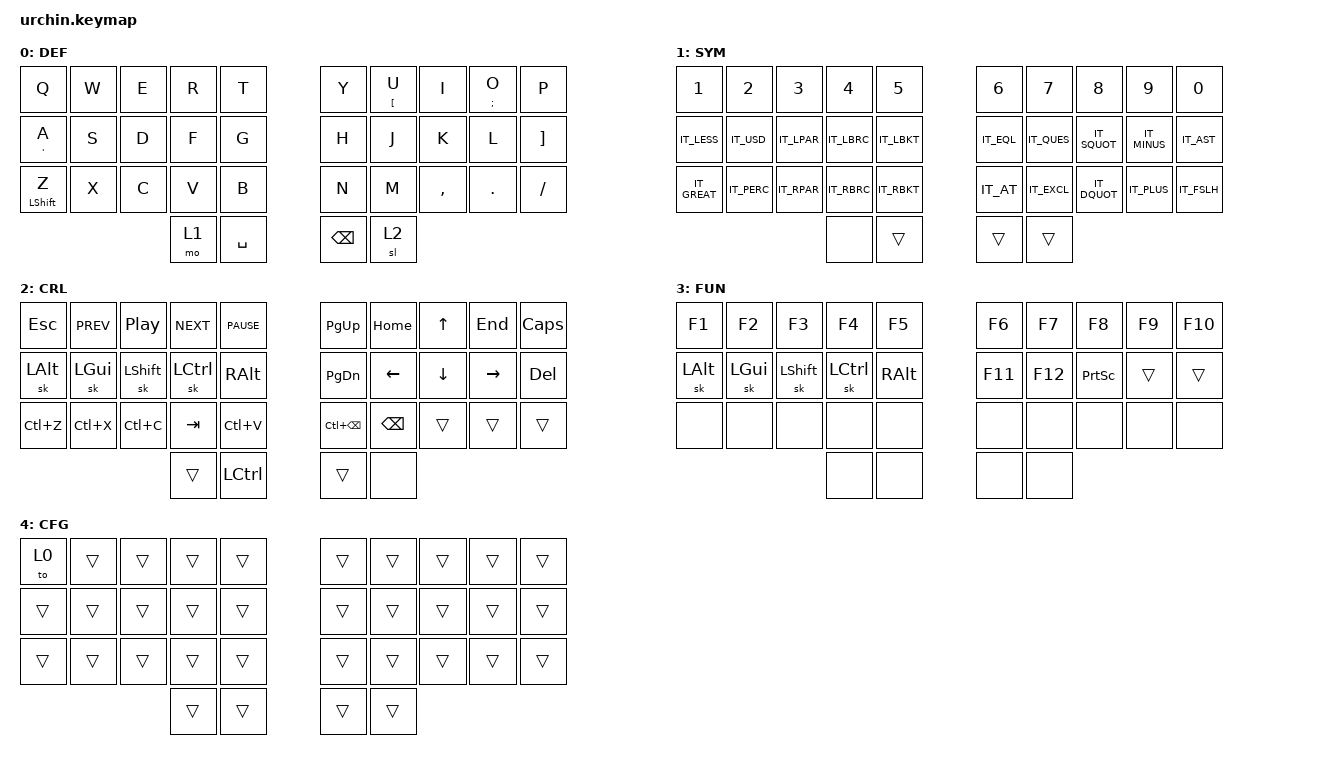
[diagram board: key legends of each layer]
/*
 * Copyright (c) 2020 duckyb
 *
 * SPDX-License-Identifier: MIT
 */

#include <behaviors.dtsi>
#include <dt-bindings/zmk/keys.h>
#include "keymap_italian.h"

// Layer definitions

#define BASE 0
#define SYM 1
#define EXT 2
#define FNC 3
#define SYM2 4
#define ACCENT 5
#define SETTINGS 6

// -----------------

&mt {
    quick-tap-ms = <100>;
    flavor = "balanced";
};

/ {
    behaviors {
        // Enables holding the first mod-tap key
        // by performing a tap-release-hold sequence.
        // To use it: "&qt KEYCODE1 KEYCODE2"
    };

    macros {
        // sometimes my device thinks a modifier is being held down
        // pressing all modifiers fixes it.
    };

    combos {
        compatible = "zmk,combos";

        // both right thumb keys
        // internal-left & external-right thumb keys
        // both left thumb keys
        // left index & middle fingers (home-row)
        // hold control & space for Adobe workflow

        combo_esc {
            bindings = <&kp ESC>;
            key-positions = <0 1>;
        };

        combo_ret {
            bindings = <&kp RET>;
            key-positions = <8 9>;
        };
    };

    keymap {
        compatible = "zmk,keymap";

        // Base alpha layer

        default_layer {
            label = "DEF";
            bindings = <
&kp Q         &kp W  &kp E  &kp R  &kp T      &kp Y          &mt LEFT_BRACKET U  &kp I      &mt SEMI O  &kp P
&mt APOS A    &kp S  &kp D  &kp F  &kp G      &kp H          &kp J               &kp K      &kp L       &kp RIGHT_BRACKET
&mt LSHIFT Z  &kp X  &kp C  &kp V  &kp B      &kp N          &kp M               &kp COMMA  &kp DOT     &kp SLASH
                            &mo 1  &kp SPACE  &kp BACKSPACE  &sl 2
            >;
        };

        // Numbers and high frequency symbols

        symbol_layer {
            label = "SYM";
            bindings = <
&kp N1        &kp N2       &kp N3       &kp N4       &kp N5       &kp N6      &kp N7       &kp N8        &kp N9        &kp N0
&kp IT_LESS   &kp IT_USD   &kp IT_LPAR  &kp IT_LBRC  &kp IT_LBKT  &kp IT_EQL  &kp IT_QUES  &kp IT_SQUOT  &kp IT_MINUS  &kp IT_AST
&kp IT_GREAT  &kp IT_PERC  &kp IT_RPAR  &kp IT_RBRC  &kp IT_RBKT  &kp IT_AT   &kp IT_EXCL  &kp IT_DQUOT  &kp IT_PLUS   &kp IT_FSLH
                                        &none        &trans       &trans      &trans
            >;
        };

        // Main modifiers and arrow keys

        control_layer {
            label = "CRL";
            bindings = <
&kp ESC    &kp C_PREV  &kp C_PP    &kp C_NEXT  &kp C_PAUSE  &kp PG_UP     &kp HOME  &kp UP    &kp END    &kp CAPS
&sk LALT   &sk LGUI    &sk LSHIFT  &sk LCTRL   &kp RALT     &kp PG_DN     &kp LEFT  &kp DOWN  &kp RIGHT  &kp DEL
&kp LC(Z)  &kp LC(X)   &kp LC(C)   &kp TAB     &kp LC(V)    &kp LC(BSPC)  &kp BSPC  &trans    &trans     &trans
                                   &trans      &kp LCTRL    &trans        &none
            >;
        };

        // Function keys with modifiers

        function_layer {
            label = "FUN";
            bindings = <
&kp F1    &kp F2    &kp F3      &kp F4     &kp F5    &kp F6   &kp F7   &kp F8           &kp F9  &kp F10
&sk LALT  &sk LGUI  &sk LSHIFT  &sk LCTRL  &kp RALT  &kp F11  &kp F12  &kp PRINTSCREEN  &trans  &trans
&none     &none     &none       &none      &none     &none    &none    &none            &none   &none
                                &none      &none     &none    &none
            >;
        };

        // Low frequency symbols.

        config_layer {
            label = "CFG";
            bindings = <
&to 0   &trans  &trans  &trans  &trans  &trans  &trans  &trans  &trans  &trans
&trans  &trans  &trans  &trans  &trans  &trans  &trans  &trans  &trans  &trans
&trans  &trans  &trans  &trans  &trans  &trans  &trans  &trans  &trans  &trans
                        &trans  &trans  &trans  &trans
            >;
        };

        // Used to type regional accents.
        // Used to change the keyboard's settings.
    };
};
